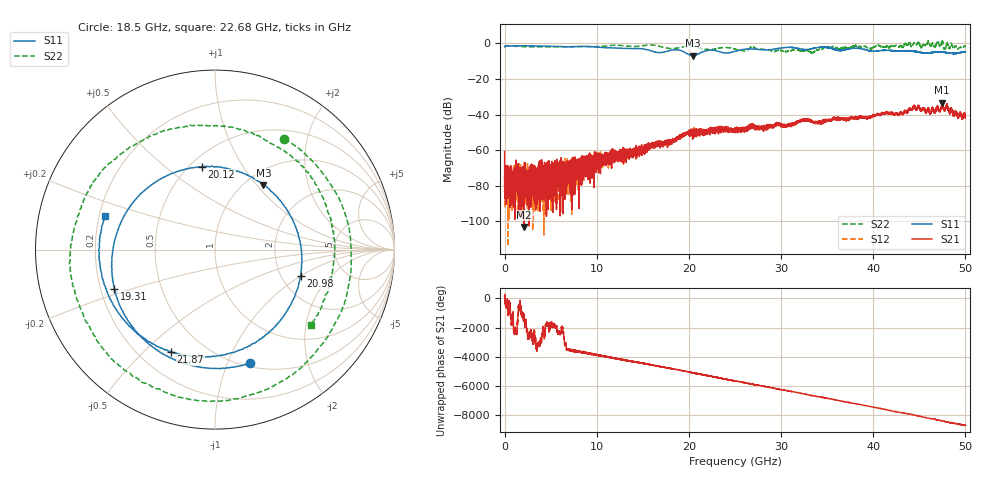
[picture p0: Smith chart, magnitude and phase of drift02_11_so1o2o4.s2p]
!Created with skrf (http://scikit-rf.org).
# Hz S RI R 50.0
!freq ReS11 ImS11 ReS21 ImS21 ReS12 ImS12 ReS22 ImS22
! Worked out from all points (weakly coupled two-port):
!   10001 points, 300 kHz to 50 GHz, reference 50 ohm
!   highest |S21| = -33.33 dB at 47.49 GHz (marker M1); lowest = -103.1 dB at 2.125 GHz (marker M2)
!   lowest |S11| = -7.0 dB at 20.44 GHz (marker M3), VSWR 2.63, Z = 60.3 + j54.2 ohm
!   |S11| at or under -10 dB: nowhere
!   |S22| runs from -5.3 to 1.6 dB; largest |S21 - S12| = 0.004
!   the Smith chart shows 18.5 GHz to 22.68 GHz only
!   S11 on the Smith chart (normalised r, x): 18.5 GHz: 0.54, -1.21; 19.31 GHz: 0.26, -0.18; 20.12 GHz: 0.57, +0.68; 20.98 GHz: 2.55, -0.98; 21.87 GHz: 0.33, -0.61; 22.68 GHz: 0.22, +0.14
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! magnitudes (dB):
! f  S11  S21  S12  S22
! 300 kHz  -2.1  -60.7  -73.8  -1.3
! 255.3 MHz  -1.4  -73.0  -81.5  -1.4
! 2.125 GHz  -1.3  -103.1  -75.4  -1.9
! 2.635 GHz  -1.4  -78.4  -78.0  -1.9
! 4.465 GHz  -1.6  -79.3  -74.6  -2.0
! 8.335 GHz  -1.7  -66.2  -67.9  -1.9
! 16.67 GHz  -5.2  -56.1  -56.7  -1.5
! 18.5 GHz  -3.6  -54.7  -54.3  -2.8
! 19.31 GHz  -4.4  -52.3  -51.5  -2.1
! 20.12 GHz  -6.6  -49.5  -48.9  -1.6
! 20.44 GHz  -7.0  -50.7  -50.9  -1.8
! 20.98 GHz  -6.1  -49.0  -49.6  -2.3
! 21.87 GHz  -4.1  -49.1  -49.5  -3.5
! 22.68 GHz  -3.9  -48.4  -48.5  -3.4
! 25 GHz  -4.5  -50.3  -48.2  -3.2
! 26.11 GHz  -3.3  -48.7  -48.0  -4.4
! 26.9 GHz  -3.2  -45.3  -47.0  -1.6
! 33.34 GHz  -3.0  -43.8  -43.7  -5.2
! 34.91 GHz  -2.3  -43.6  -43.2  -2.0
! 41.67 GHz  -4.0  -39.6  -39.2  -2.1
! 47.49 GHz  -4.9  -33.3  -33.9  1.3
! 50 GHz  -4.7  -42.0  -40.2  -1.4
